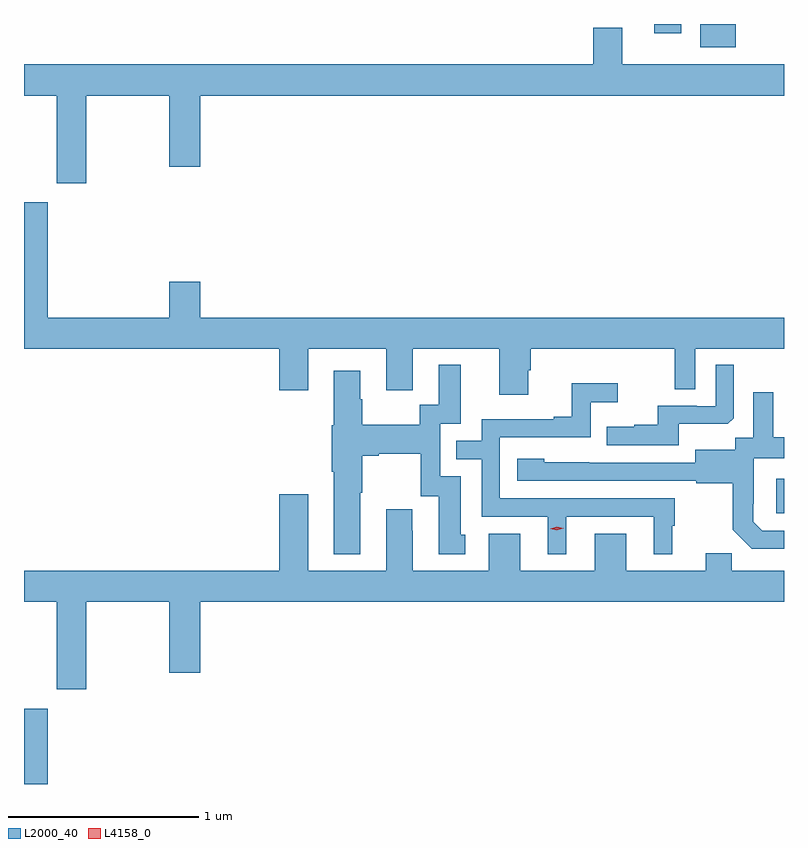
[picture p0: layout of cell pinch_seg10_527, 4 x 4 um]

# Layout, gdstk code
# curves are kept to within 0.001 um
import gdstk
lib = gdstk.Library(unit=1e-6, precision=1e-09)
def R(c, l, rs):  # rectangles x0, y0, x1, y1
    for r in rs: c.add(gdstk.rectangle(r[:2], r[2:], *l))
def P(c, l, *ps):  # polygons
    for p in ps: c.add(gdstk.Polygon(p, *l))
L2000_40 = (2000, 40)
L4158_0 = (4158, 0)

pinch_seg10_527 = lib.new_cell('pinch_seg10_527')
R(pinch_seg10_527, L2000_40, [(296.112,1254.069,296.236,1254.466), (300.071,1255.494,300.112,1255.675), (299.672,1257.947,299.857,1258.069), (299.429,1258.02,299.572,1258.069)])
P(pinch_seg10_527, L2000_40, [(296.439,1257.692),(296.876,1257.692),(296.876,1257.318),(297.04,1257.318),(297.04,1257.692),(300.112,1257.692),(300.112,1257.856),(299.26,1257.856),(299.26,1258.048),(299.108,1258.048),(299.108,1257.856),(296.112,1257.856),(296.112,1257.692),(296.284,1257.692),(296.284,1257.231),(296.439,1257.231)],
  [(298.765,1256.247),(298.778,1256.247),(298.778,1256.36),(299.538,1256.36),(299.538,1256.146),(299.646,1256.146),(299.646,1256.36),(300.112,1256.36),(300.112,1256.524),(297.04,1256.524),(297.04,1256.713),(296.876,1256.713),(296.876,1256.524),(296.236,1256.524),(296.236,1257.13),(296.112,1257.13),(296.112,1256.36),(297.455,1256.36),(297.455,1256.142),(297.607,1256.142),(297.607,1256.36),(298.019,1256.36),(298.019,1256.142),(298.159,1256.142),(298.159,1256.36),(298.613,1256.36),(298.613,1256.118),(298.765,1256.118)],
  [(299.557,1255.964),(299.815,1255.964),(299.847,1255.995),(299.847,1256.275),(299.754,1256.275),(299.754,1256.058),(299.654,1256.058),(299.654,1256.061),(299.447,1256.061),(299.447,1255.96),(299.323,1255.96),(299.323,1255.948),(299.179,1255.948),(299.179,1255.851),(299.557,1255.851)],
  [(297.883,1255.603),(297.891,1255.603),(297.891,1255.796),(297.979,1255.796),(297.979,1255.808),(298.199,1255.808),(298.199,1255.584),(298.295,1255.584),(298.295,1255.278),(298.435,1255.278),(298.435,1255.38),(298.411,1255.38),(298.411,1255.689),(298.302,1255.689),(298.302,1255.965),(298.411,1255.965),(298.411,1256.275),(298.295,1256.275),(298.295,1256.066),(298.194,1256.066),(298.194,1255.96),(297.891,1255.96),(297.891,1256.094),(297.883,1256.094),(297.883,1256.245),(297.743,1256.245),(297.743,1255.956),(297.731,1255.956),(297.731,1255.712),(297.743,1255.712),(297.743,1255.277),(297.883,1255.277)],
  [(298.966,1255.476),(299.426,1255.476),(299.426,1255.277),(299.524,1255.277),(299.524,1255.428),(299.536,1255.428),(299.536,1255.572),(298.617,1255.572),(298.617,1255.893),(299.094,1255.893),(299.094,1256.078),(299.236,1256.078),(299.236,1256.177),(298.996,1256.177),(298.996,1256.002),(298.901,1256.002),(298.901,1255.989),(298.521,1255.989),(298.521,1255.875),(298.387,1255.875),(298.387,1255.779),(298.521,1255.779),(298.521,1255.476),(298.868,1255.476),(298.868,1255.277),(298.966,1255.277)],
  [(300.112,1255.401),(299.997,1255.401),(299.95,1255.448),(299.95,1255.543),(299.952,1255.543),(299.952,1255.784),(300.112,1255.784),(300.112,1255.894),(300.055,1255.894),(300.055,1256.131),(299.951,1256.131),(299.951,1255.892),(299.856,1255.892),(299.856,1255.828),(299.645,1255.828),(299.645,1255.761),(298.851,1255.762),(298.851,1255.78),(298.707,1255.78),(298.707,1255.665),(299.649,1255.665),(299.649,1255.653),(299.841,1255.653),(299.841,1255.407),(299.941,1255.307),(300.112,1255.307)],
  [(296.439,1255.028),(296.876,1255.028),(296.876,1254.654),(297.04,1254.654),(297.04,1255.028),(300.112,1255.028),(300.112,1255.192),(299.837,1255.192),(299.837,1255.283),(299.699,1255.283),(299.699,1255.192),(299.281,1255.192),(299.281,1255.387),(299.117,1255.387),(299.117,1255.192),(298.723,1255.192),(298.723,1255.387),(298.559,1255.387),(298.559,1255.192),(298.159,1255.192),(298.159,1255.403),(298.156,1255.403),(298.156,1255.516),(298.019,1255.516),(298.019,1255.192),(297.607,1255.192),(297.607,1255.594),(297.455,1255.594),(297.455,1255.192),(296.112,1255.192),(296.112,1255.028),(296.284,1255.028),(296.284,1254.567),(296.439,1254.567)])
P(pinch_seg10_527, L4158_0, [(298.917,1255.404),(298.882,1255.413),(298.881,1255.413),(298.882,1255.413),(298.917,1255.424),(298.952,1255.415),(298.953,1255.415),(298.952,1255.414)])

lib.write_gds('pinch_seg10_527.gds')
